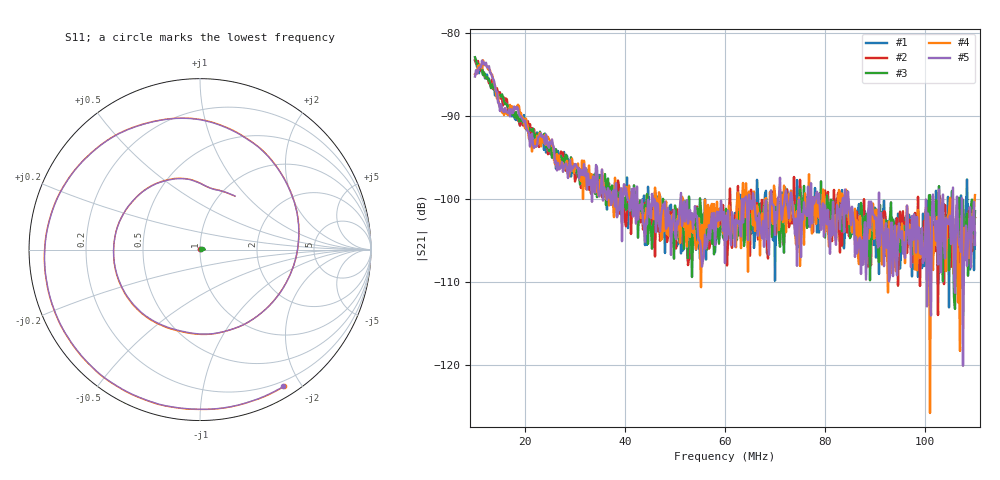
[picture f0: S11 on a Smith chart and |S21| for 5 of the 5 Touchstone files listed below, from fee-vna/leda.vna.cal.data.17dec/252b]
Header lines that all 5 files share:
! Anritsu VNA Master:  Model: MS2036C/10/77
! SN:  1601066
! Existing Calibration Information:
! TYPE:  Current Settings,  Active Cal Settings
! # POINTS:  501,  501
! START FREQ:  10.000 MHz,  10.000 MHz
! STOP FREQ:  110.000 MHz,  110.000 MHz
! SOURCE POWER:  High,  High
! IFBW:  100 Hz,  100 Hz
! AVG FACTOR:  1 ,  1
! REF PLANE 1:  0 mm,  0 mm
! REF PLANE 2:  0 mm,  0 mm
! CAL TYPE:  Full S11,  Full S11
! CAL METHOD:  SOLT,  SOLT
! CAL LINE TYPE:  Coax,  Coax
! DUT PORT 1:  K-Conn(F),  K-Conn(F)
! DUT PORT 2:  K-Conn(F),  K-Conn(F)
! CAL STATUS:  OK: Accuracy High,  --
# GHZ S DB R 50.0
! FREQ.GHZ  S11DB  S11A  S21DB  S21A  S12DB  S12A  S22DB  S22A
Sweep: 10 MHz to 110 MHz
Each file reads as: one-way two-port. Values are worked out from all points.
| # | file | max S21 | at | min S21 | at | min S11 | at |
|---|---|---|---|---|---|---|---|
| 1 | 252.ns.sma.50bohm2.s2p | -83.33 dB | 10 MHz | -113.1 dB | 104.8 MHz | -45.4 dB | 10 MHz |
| 2 | 252.ns.sma.50ohm3.s2p | -83.22 dB | 10 MHz | -114.0 dB | 102.6 MHz | -45.5 dB | 10 MHz |
| 3 | 252.ns.sma.50ohm4.s2p | -82.93 dB | 10 MHz | -113.3 dB | 106 MHz | -45.0 dB | 10 MHz |
| 4 | 252.ns.sma.msr1.s2p | -83.29 dB | 11.6 MHz | -125.8 dB | 101 MHz | -8.8 dB | 101.8 MHz |
| 5 | 252.ns.sma.msr2.s2p | -83.31 dB | 11.4 MHz | -120.1 dB | 107.6 MHz | -8.8 dB | 101.6 MHz |
